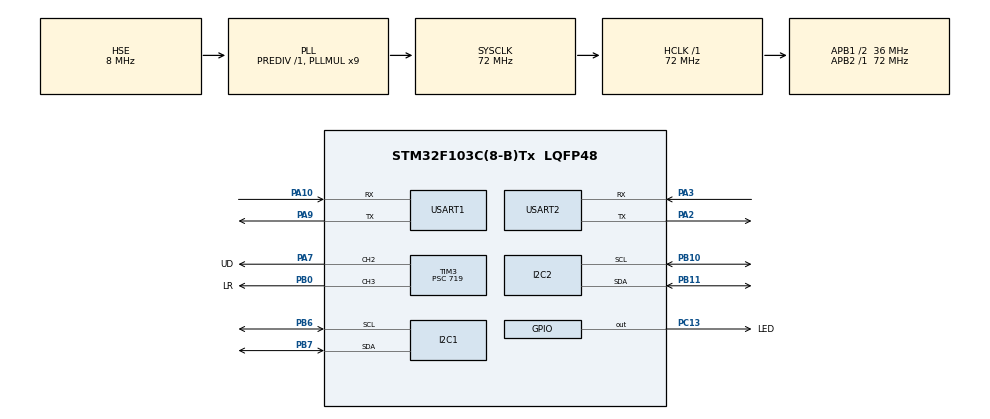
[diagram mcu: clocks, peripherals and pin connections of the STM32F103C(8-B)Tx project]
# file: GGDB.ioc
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I2C1.I2C_Mode=I2C_Fast
I2C2.I2C_Mode=I2C_Fast
Mcu.Family=STM32F1
Mcu.Name=STM32F103C(8-B)Tx
Mcu.Package=LQFP48
NVIC.PriorityGroup=NVIC_PRIORITYGROUP_4
NVIC.TIM3_IRQn=true\:0\:0\:false\:false\:true\:true\:true\:true
NVIC.USART1_IRQn=true\:0\:0\:false\:false\:true\:true\:true\:true
NVIC.USART2_IRQn=true\:0\:0\:false\:false\:true\:true\:true\:true
PA10.Mode=Asynchronous
PA10.Signal=USART1_RX
PA13.Mode=Serial_Wire
PA13.Signal=SYS_JTMS-SWDIO
PA14.Mode=Serial_Wire
PA14.Signal=SYS_JTCK-SWCLK
PA2.Mode=Asynchronous
PA2.Signal=USART2_TX
PA3.Mode=Asynchronous
PA3.Signal=USART2_RX
PA7.GPIO_Label=UD
PA7.Signal=S_TIM3_CH2
PA9.Mode=Asynchronous
PA9.Signal=USART1_TX
PB0.GPIO_Label=LR
PB0.Signal=S_TIM3_CH3
PB10.Mode=I2C
PB10.Signal=I2C2_SCL
PB11.Mode=I2C
PB11.Signal=I2C2_SDA
PB6.Mode=I2C
PB6.Signal=I2C1_SCL
PB7.Mode=I2C
PB7.Signal=I2C1_SDA
PC13-TAMPER-RTC.GPIO_Label=LED
PC13-TAMPER-RTC.PinState=GPIO_PIN_SET
PC13-TAMPER-RTC.Signal=GPIO_Output
PD0-OSC_IN.Mode=HSE-External-Oscillator
PD0-OSC_IN.Signal=RCC_OSC_IN
PD1-OSC_OUT.Mode=HSE-External-Oscillator
PD1-OSC_OUT.Signal=RCC_OSC_OUT
ProjectManager.HeapSize=0x200
ProjectManager.StackSize=0x400
ProjectManager.TargetToolchain=MDK-ARM V5.32
RCC.AHBFreq_Value=72000000
RCC.APB1CLKDivider=RCC_HCLK_DIV2
RCC.APB1Freq_Value=36000000
RCC.APB1TimFreq_Value=72000000
RCC.APB2Freq_Value=72000000
RCC.APB2TimFreq_Value=72000000
RCC.HCLKFreq_Value=72000000
RCC.PLLMUL=RCC_PLL_MUL9
RCC.PLLSourceVirtual=RCC_PLLSOURCE_HSE
RCC.SYSCLKFreq_VALUE=72000000
RCC.SYSCLKSource=RCC_SYSCLKSOURCE_PLLCLK
RCC.USBFreq_Value=72000000
SH.S_TIM3_CH2.0=TIM3_CH2,PWM Generation2 CH2
SH.S_TIM3_CH3.0=TIM3_CH3,PWM Generation3 CH3
TIM3.AutoReloadPreload=TIM_AUTORELOAD_PRELOAD_ENABLE
TIM3.Channel-PWM\ Generation2\ CH2=TIM_CHANNEL_2
TIM3.Channel-PWM\ Generation3\ CH3=TIM_CHANNEL_3
TIM3.Period=1999
TIM3.Prescaler=719
TIM3.Pulse-PWM\ Generation3\ CH3=500
USART1.VirtualMode=VM_ASYNC
USART2.VirtualMode=VM_ASYNC
VP_TIM3_VS_ClockSourceINT.Mode=Internal
board=custom

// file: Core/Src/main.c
/* USER CODE BEGIN Header */
/**
  ******************************************************************************
  * @file           : main.c
  * @brief          : Main program body
  ******************************************************************************
  * @attention
  *
  * Copyright (c) 2023 STMicroelectronics.
  * All rights reserved.
  *
  * This software is licensed under terms that can be found in the LICENSE file
  * in the root directory of this software component.
  * If no LICENSE file comes with this software, it is provided AS-IS.
  *
  ******************************************************************************
  */
/* USER CODE END Header */
#include "main.h"
#include "i2c.h"
#include "tim.h"
#include "usart.h"
#include "gpio.h"

/* USER CODE BEGIN Includes */
#include <stdio.h>
#include "OpenMV.h"
/* USER CODE END Includes */

/* USER CODE BEGIN PV */

uint8_t USART1_RXbuff;  // 接收缓冲区;
uint8_t USART2_RXbuff;
uint8_t ch = 0;

/* USER CODE END PV */

void SystemClock_Config(void);

/* USER CODE BEGIN 0 */

int fputc(int ch ,FILE *f)
{
	//轮询方式发送一个字节数据
	HAL_UART_Transmit (&huart1 ,(uint8_t *)&ch , 1,HAL_MAX_DELAY );
	return ch ;
}

/* USER CODE END 0 */

int main(void)
{

  /* MCU Configuration--------------------------------------------------------*/

  /* Reset of all peripherals, Initializes the Flash interface and the Systick. */
  HAL_Init();

  /* Configure the system clock */
  SystemClock_Config();

  /* Initialize all configured peripherals */
  MX_GPIO_Init();
  MX_I2C1_Init();
  MX_I2C2_Init();
  MX_USART1_UART_Init();
  MX_TIM3_Init();
  MX_USART2_UART_Init();
  /* USER CODE BEGIN 2 */

 // HAL_TIM_Base_Start_IT(&htim2);
  HAL_UART_Receive_IT(&huart2,(void *)&USART2_RXbuff,1);
  HAL_UART_Receive_IT(&huart1,(void *)&USART1_RXbuff,1);
  HAL_TIM_PWM_Start(&htim3,TIM_CHANNEL_2);
  HAL_TIM_PWM_Start(&htim3,TIM_CHANNEL_3);

  /* USER CODE END 2 */

  /* Infinite loop */
  /* USER CODE BEGIN WHILE */
  while (1)
  {
		      __HAL_TIM_SET_COMPARE(&htim3,TIM_CHANNEL_2,50);    //上下
          __HAL_TIM_SET_COMPARE(&htim3,TIM_CHANNEL_3,130);   //左右
		      HAL_Delay(1000);
	        HAL_GPIO_TogglePin(LED_GPIO_Port, LED_Pin);       //50 130算是正常方向

    /* USER CODE END WHILE */

  }
}

void SystemClock_Config(void)
{
  RCC_OscInitTypeDef RCC_OscInitStruct = {0};
  RCC_ClkInitTypeDef RCC_ClkInitStruct = {0};

  /** Initializes the RCC Oscillators according to the specified parameters
  * in the RCC_OscInitTypeDef structure.
  */
  RCC_OscInitStruct.OscillatorType = RCC_OSCILLATORTYPE_HSE;
  RCC_OscInitStruct.HSEState = RCC_HSE_ON;
  RCC_OscInitStruct.HSEPredivValue = RCC_HSE_PREDIV_DIV1;
  RCC_OscInitStruct.HSIState = RCC_HSI_ON;
  RCC_OscInitStruct.PLL.PLLState = RCC_PLL_ON;
  RCC_OscInitStruct.PLL.PLLSource = RCC_PLLSOURCE_HSE;
  RCC_OscInitStruct.PLL.PLLMUL = RCC_PLL_MUL9;
  if (HAL_RCC_OscConfig(&RCC_OscInitStruct) != HAL_OK)
  {
    Error_Handler();
  }

  /** Initializes the CPU, AHB and APB buses clocks
  */
  RCC_ClkInitStruct.ClockType = RCC_CLOCKTYPE_HCLK|RCC_CLOCKTYPE_SYSCLK
                              |RCC_CLOCKTYPE_PCLK1|RCC_CLOCKTYPE_PCLK2;
  RCC_ClkInitStruct.SYSCLKSource = RCC_SYSCLKSOURCE_PLLCLK;
  RCC_ClkInitStruct.AHBCLKDivider = RCC_SYSCLK_DIV1;
  RCC_ClkInitStruct.APB1CLKDivider = RCC_HCLK_DIV2;
  RCC_ClkInitStruct.APB2CLKDivider = RCC_HCLK_DIV1;

  if (HAL_RCC_ClockConfig(&RCC_ClkInitStruct, FLASH_LATENCY_2) != HAL_OK)
  {
    Error_Handler();
  }
}

/* USER CODE BEGIN 4 */

//定时器中断
/* void HAL_TIM_PeriodElapsedCallback(TIM_HandleTypeDef *htim)
{
    static uint32_t time_cnt =0;
    //static uint32_t time_cnt3 =0;
    if(htim->Instance == TIM2)
    {
        if(++time_cnt >= 10)
        {
            time_cnt =0;

          __HAL_TIM_SET_COMPARE(&htim3,TIM_CHANNEL_2,50);    //上下
          __HAL_TIM_SET_COMPARE(&htim3,TIM_CHANNEL_3,130);   //左右
		      HAL_Delay(1000);
	        HAL_GPIO_TogglePin(LED_GPIO_Port, LED_Pin);       //50 130算是正常方向
        }
    }
    if(htim->Instance == TIM3)
    {
        if(++time_cnt3 >= 100)
        {
            time_cnt3 =0;
    HAL_UART_Transmit(&huart1,hello,20,100000);
        }

    }
}
*/

/*串口接收中断回调函数*/
void HAL_UART_RxCpltCallback(UART_HandleTypeDef *huart)
{
  uint16_t tempt  ;
  if(huart->Instance==USART2)
  {
    tempt=USART2_RXbuff;
    Openmv_Receive_Data(tempt);

  }

HAL_UART_Receive_IT(&huart2,(void *)&USART2_RXbuff,1);
}

/* USER CODE END 4 */

void Error_Handler(void)
{
  __disable_irq();
  while (1)
  {
  }
}
